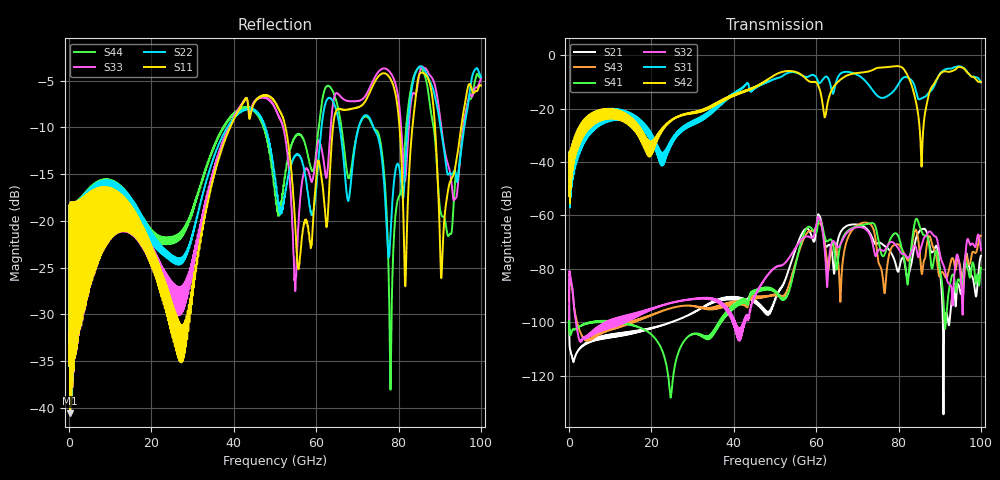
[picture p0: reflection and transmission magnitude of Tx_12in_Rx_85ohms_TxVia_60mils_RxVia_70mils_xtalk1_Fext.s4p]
! Info: Touchstone file created by Circ.  Input file=Tx_12in_Rx_85ohms_TxVia_60mils_RxVia_70mils.circ
# Hz S RI R 50
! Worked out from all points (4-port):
!   10000 points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, 10 MHz to 100 GHz, reference 50 ohm
!   strongest paths, dB at 10 MHz, 25.01 GHz, 50.01 GHz, 75.01 GHz, 100 GHz:
!     S42: -52.7, -24.0, -7.4, -4.7, -10.0
!     S31: -52.8, -31.2, -8.9, -15.4, -10.2
!     S32: -98.9, -92.8, -79.5, -73.3, -73.0
!     S41: -94.2, -124.0, -88.5, -68.5, -79.6
!     S43: -92.0, -94.7, -89.6, -76.5, -67.7
!     S21: -95.0, -100.0, -91.3, -70.3, -75.1
!   lowest |S11| = -40.6 dB at 260 MHz (marker M1), VSWR 1.02, Z = 49.3 + j0.566 ohm
!   |S11| at or under -10 dB: start of sweep to 39.11 GHz; 52.54 GHz to 64.1 GHz (11.55 GHz wide, 19.8 % of centre); 88.87 GHz to 95.21 GHz (6.335 GHz wide, 6.88 % of centre)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
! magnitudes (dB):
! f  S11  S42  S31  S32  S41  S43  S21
! 10 MHz  -35.4  -52.7  -52.8  -98.9  -94.2  -92.0  -95.0
! 260 MHz  -40.6  -44.4  -44.4  -82.3  -104.9  -83.3  -110.3
! 62.97 GHz  -18.3  -16.7  -8.8  -79.2  -69.5  -80.5  -71.1
! 78.08 GHz  -4.8  -4.3  -14.5  -70.0  -68.7  -72.8  -73.7
! 85.57 GHz  -4.1  -41.6  -16.2  -71.5  -65.8  -81.3  -65.1
! 90.47 GHz  -25.7  -6.5  -6.2  -77.0  -84.1  -81.2  -88.4
! 100 GHz  -5.5  -10.0  -10.2  -73.0  -79.6  -67.7  -75.1
